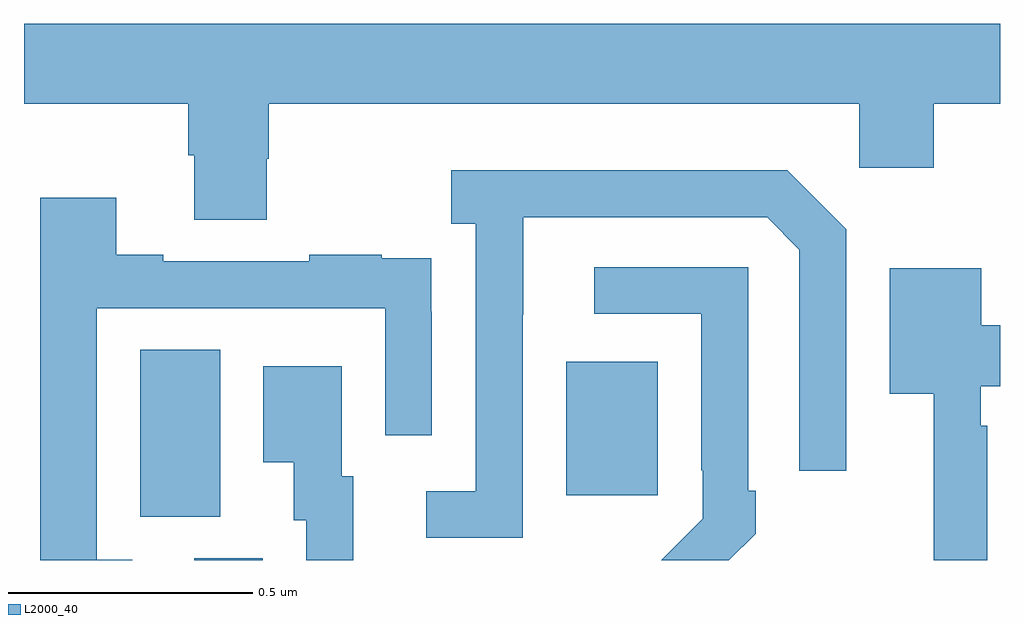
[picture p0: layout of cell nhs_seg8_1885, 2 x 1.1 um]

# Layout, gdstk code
import gdstk
lib = gdstk.Library(unit=1e-6, precision=1e-09)
def R(c, l, rs):  # rectangles x0, y0, x1, y1
    for r in rs: c.add(gdstk.rectangle(r[:2], r[2:], *l))
def P(c, l, *ps):  # polygons
    for p in ps: c.add(gdstk.Polygon(p, *l))
L2000_40 = (2000, 40)

nhs_seg8_1885 = lib.new_cell('nhs_seg8_1885')
R(nhs_seg8_1885, L2000_40, [(136.349,1112.9,136.489,1112.904), (136.238,1112.989,136.402,1113.332), (137.111,1113.033,137.299,1113.307)])
P(nhs_seg8_1885, L2000_40, [(136.497,1113.723),(136.502,1113.723),(136.502,1113.836),(137.712,1113.836),(137.712,1113.705),(137.864,1113.705),(137.864,1113.836),(138,1113.836),(138,1114),(136,1114),(136,1113.836),(136.337,1113.836),(136.337,1113.73),(136.349,1113.73),(136.349,1113.598),(136.497,1113.598)],
  [(137.022,1113.403),(137.023,1113.403),(137.023,1113.603),(137.523,1113.603),(137.589,1113.537),(137.589,1113.084),(137.685,1113.084),(137.685,1113.579),(137.564,1113.7),(136.875,1113.7),(136.875,1113.59),(136.926,1113.59),(136.926,1113.042),(136.824,1113.042),(136.824,1112.946),(137.022,1112.946)],
  [(136.222,1112.901),(136.149,1112.901),(136.149,1113.417),(136.74,1113.417),(136.74,1113.156),(136.836,1113.156),(136.836,1113.41),(136.835,1113.41),(136.835,1113.519),(136.733,1113.519),(136.733,1113.526),(136.585,1113.526),(136.585,1113.513),(136.285,1113.513),(136.285,1113.526),(136.189,1113.526),(136.189,1113.643),(136.033,1113.643),(136.033,1112.9),(136.222,1112.9)],
  [(137.499,1112.955),(137.499,1113.043),(137.484,1113.043),(137.484,1113.501),(137.169,1113.501),(137.169,1113.405),(137.388,1113.405),(137.388,1113.085),(137.391,1113.085),(137.391,1112.985),(137.306,1112.9),(137.444,1112.9)],
  [(137.974,1113.176),(137.961,1113.176),(137.961,1113.257),(138,1113.257),(138,1113.382),(137.962,1113.382),(137.962,1113.499),(137.774,1113.499),(137.774,1113.242),(137.864,1113.242),(137.864,1112.9),(137.974,1112.9)],
  [(136.675,1113.072),(136.651,1113.072),(136.651,1113.298),(136.49,1113.298),(136.49,1113.101),(136.553,1113.101),(136.553,1112.982),(136.578,1112.982),(136.578,1112.9),(136.675,1112.9)])

lib.write_gds('nhs_seg8_1885.gds')
